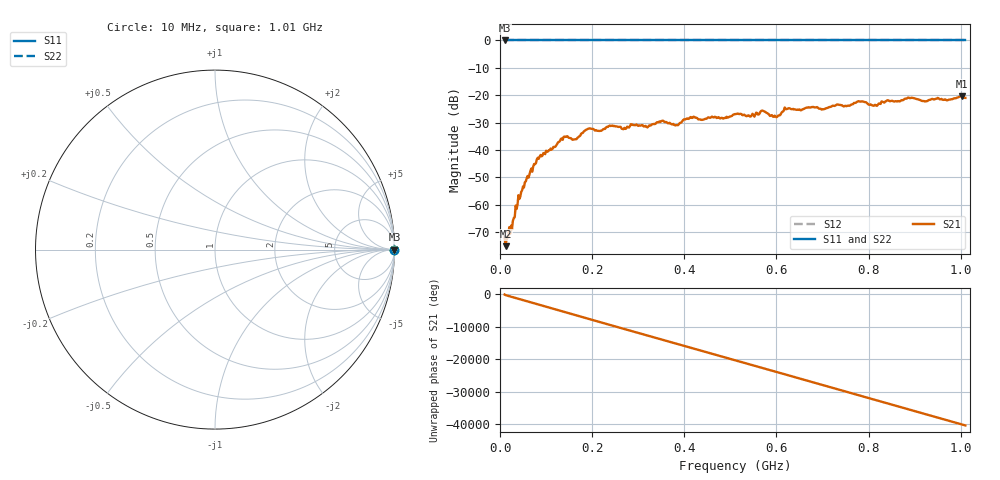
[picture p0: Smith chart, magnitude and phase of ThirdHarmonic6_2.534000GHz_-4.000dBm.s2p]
! 8/17/2025 5:04:17 AM
! C:\ANRITSUVNA\TEMP\TEMP.S2P
! CHANNEL.1
! TR.MEASUREMENT
! RAW.DATA
! RF.CORRECTION.OFF
! AVERAGING.OFF
! IF.BANDWIDTH: 5KHZ
! SWEEPTYPE:  FREQ.SWEEP(Linear)
! Reference Plane Port Info
! PORT:  PORT1  PORT2
! DISTANCE:  0  m  0  m
! TIME:  0  s  0  s
! PHASE.OFFSET:  0  deg.  0  deg.
! LOSS:  0  dB  0  dB
! REF.LOSS:  0  dB  0  dB
! REF.FREQ:  0  Hz  0  Hz
! Power Info
! POWER:  -20  dBm  -20  dBm
! EFF.POWER:  -20  dBm  -20  dBm
! SOURCE.ATTEN:  0  dB  0  dB
! TEST.ATTEN:  0  dB  0  dB
# GHZ S RI R 50.0
! FREQ.GHZ  S11RE  S11IM  S21RE  S21IM  S12RE  S12IM  S22RE  S22IM
!; PortSelection: Port_12
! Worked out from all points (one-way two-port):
!   501 points, 10 MHz to 1.01 GHz, reference 50 ohm
!   highest |S21| = -20.36 dB at 1.002 GHz (marker M1); lowest = -75.1 dB at 12 MHz (marker M2)
!   lowest |S11| = 0.0 dB at 10 MHz (marker M3)
!   |S11| at or under -10 dB: nowhere
!   |S22| runs from 0.0 to 0.0 dB; largest |S21 - S12| = 1.1
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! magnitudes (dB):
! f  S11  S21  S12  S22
! 10 MHz  0.0  -71.6  0.0  0.0
! 12 MHz  0.0  -75.1  0.0  0.0
! 26 MHz  0.0  -69.0  0.0  0.0
! 38 MHz  0.0  -60.0  0.0  0.0
! 50 MHz  0.0  -53.3  0.0  0.0
! 84 MHz  0.0  -43.2  0.0  0.0
! 136 MHz  0.0  -36.3  0.0  0.0
! 162 MHz  0.0  -36.2  0.0  0.0
! 178 MHz  0.0  -33.9  0.0  0.0
! 194 MHz  0.0  -32.1  0.0  0.0
! 344 MHz  0.0  -29.9  0.0  0.0
! 382 MHz  0.0  -30.9  0.0  0.0
! 416 MHz  0.0  -28.3  0.0  0.0
! 510 MHz  0.0  -26.9  0.0  0.0
! 570 MHz  0.0  -25.6  0.0  0.0
! 598 MHz  0.0  -27.8  0.0  0.0
! 622 MHz  0.0  -25.1  0.0  0.0
! 678 MHz  0.0  -24.3  0.0  0.0
! 814 MHz  0.0  -23.5  0.0  0.0
! 844 MHz  0.0  -22.0  0.0  0.0
! 1.002 GHz  0.0  -20.4  0.0  0.0
! 1.01 GHz  0.0  -21.0  0.0  0.0
